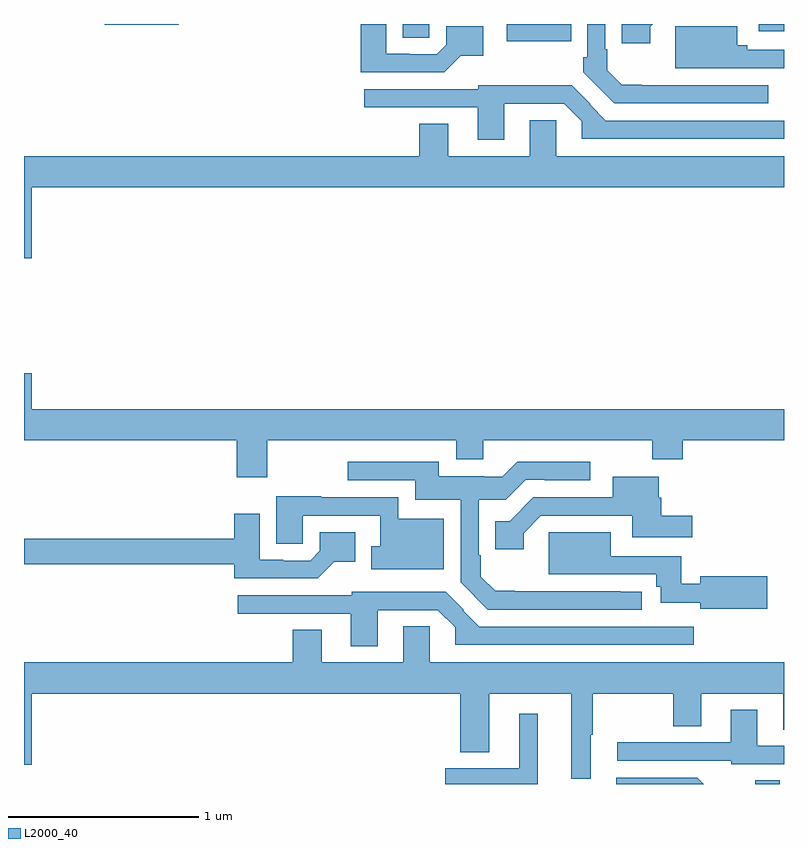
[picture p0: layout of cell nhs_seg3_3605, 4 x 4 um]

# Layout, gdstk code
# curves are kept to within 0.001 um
import gdstk
lib = gdstk.Library(unit=1e-6, precision=1e-09)
def R(c, l, rs):  # rectangles x0, y0, x1, y1
    for r in rs: c.add(gdstk.rectangle(r[:2], r[2:], *l))
def P(c, l, *ps):  # polygons
    for p in ps: c.add(gdstk.Polygon(p, *l))
L2000_40 = (2000, 40)

nhs_seg3_3605 = lib.new_cell('nhs_seg3_3605')
R(nhs_seg3_3605, L2000_40, [(300.848,740.4,300.978,740.42), (299.541,744.308,299.879,744.4), (298.994,744.328,299.133,744.4), (300.866,744.362,301,744.4), (297.426,744.395,297.814,744.4)])
P(nhs_seg3_3605, L2000_40, [(300.295,744.385),(300.31,744.4),(300.145,744.4),(300.145,744.3),(300.295,744.3)],
  [(299.298,744.233),(299.416,744.233),(299.416,744.388),(299.223,744.388),(299.223,744.291),(299.172,744.24),(299.03,744.24),(299.03,744.243),(298.906,744.243),(298.906,744.4),(298.772,744.4),(298.772,744.147),(299.212,744.147)],
  [(300.916,744.078),(300.25,744.078),(300.25,744.081),(300.146,744.081),(300.07,744.156),(300.07,744.268),(300.06,744.268),(300.06,744.4),(299.964,744.4),(299.964,744.226),(299.944,744.226),(299.944,744.145),(300.107,743.982),(300.916,743.982)],
  [(300.707,744.168),(301,744.168),(301,744.264),(300.807,744.264),(300.807,744.289),(300.754,744.289),(300.754,744.388),(300.428,744.388),(300.428,744.167),(300.707,744.167)],
  [(299.527,743.979),(299.844,743.979),(299.935,743.889),(299.935,743.796),(301,743.796),(301,743.892),(300.063,743.892),(299.978,743.977),(299.981,743.98),(299.883,744.078),(299.391,744.078),(299.391,744.057),(298.791,744.057),(298.791,743.961),(299.387,743.961),(299.387,743.79),(299.527,743.79)],
  [(297.04,743.54),(301,743.54),(301,743.704),(299.802,743.704),(299.802,743.894),(299.663,743.894),(299.663,743.704),(299.233,743.704),(299.233,743.876),(299.081,743.876),(299.081,743.704),(297,743.704),(297,743.166),(297.04,743.166)],
  [(298.281,742.208),(299.276,742.208),(299.276,742.109),(299.416,742.109),(299.416,742.208),(300.307,742.208),(300.307,742.109),(300.467,742.109),(300.467,742.208),(301,742.208),(301,742.372),(297.04,742.372),(297.04,742.561),(297,742.561),(297,742.208),(298.121,742.208),(298.121,742.014),(298.281,742.014)],
  [(300.25,741.413),(299.584,741.414),(299.584,741.417),(299.48,741.417),(299.404,741.492),(299.404,741.604),(299.394,741.604),(299.394,741.897),(299.535,741.897),(299.64,742.002),(299.74,742.002),(299.74,741.999),(299.98,741.999),(299.98,742.096),(299.596,742.096),(299.517,742.017),(299.423,742.017),(299.423,742.021),(299.182,742.021),(299.182,742.095),(298.704,742.095),(298.704,741.999),(299.06,741.999),(299.06,741.896),(299.298,741.896),(299.298,741.461),(299.441,741.318),(300.25,741.318)],
  [(299.629,741.721),(299.721,741.813),(300.2,741.813),(300.2,741.698),(300.517,741.698),(300.517,741.812),(300.353,741.812),(300.353,741.906),(300.34,741.906),(300.34,742.018),(300.098,742.018),(300.098,741.909),(299.681,741.909),(299.556,741.784),(299.479,741.784),(299.479,741.636),(299.629,741.636)],
  [(299.209,741.796),(298.971,741.796),(298.971,741.909),(298.564,741.909),(298.564,741.914),(298.328,741.914),(298.328,741.664),(298.467,741.664),(298.467,741.813),(298.874,741.813),(298.874,741.652),(298.828,741.652),(298.828,741.53),(299.209,741.53)],
  [(298.632,741.569),(298.743,741.569),(298.743,741.724),(298.557,741.724),(298.557,741.627),(298.506,741.576),(298.364,741.576),(298.364,741.579),(298.24,741.579),(298.24,741.823),(298.106,741.823),(298.106,741.692),(297,741.692),(297,741.556),(298.106,741.556),(298.106,741.483),(298.546,741.483)],
  [(300.913,741.494),(300.56,741.494),(300.56,741.453),(300.46,741.453),(300.46,741.6),(300.088,741.6),(300.088,741.724),(299.762,741.724),(299.762,741.503),(299.984,741.503),(299.984,741.504),(300.327,741.504),(300.327,741.438),(300.35,741.438),(300.35,741.354),(300.56,741.354),(300.56,741.323),(300.913,741.323)],
  [(298.861,741.315),(299.178,741.315),(299.269,741.225),(299.269,741.132),(300.526,741.132),(300.526,741.228),(299.397,741.228),(299.312,741.313),(299.315,741.316),(299.22,741.411),(298.725,741.411),(298.725,741.393),(298.125,741.393),(298.125,741.297),(298.721,741.297),(298.721,741.126),(298.861,741.126)],
  [(299.983,740.66),(299.993,740.66),(299.993,740.876),(300.418,740.876),(300.418,740.704),(300.565,740.704),(300.565,740.876),(300.995,740.876),(300.995,740.686),(301,740.686),(301,741.04),(299.136,741.04),(299.136,741.23),(298.997,741.23),(298.997,741.04),(298.567,741.04),(298.567,741.212),(298.415,741.212),(298.415,741.04),(297,741.04),(297,740.502),(297.04,740.502),(297.04,740.876),(299.297,740.876),(299.297,740.567),(299.449,740.567),(299.449,740.876),(299.879,740.876),(299.879,740.427),(299.983,740.427)],
  [(301,740.601),(300.859,740.601),(300.859,740.791),(300.719,740.791),(300.719,740.619),(300.123,740.619),(300.123,740.523),(300.723,740.523),(300.723,740.505),(301,740.505)],
  [(299.704,740.77),(299.606,740.77),(299.606,740.482),(299.216,740.482),(299.216,740.4),(299.704,740.4)],
  [(300.544,740.433),(300.116,740.433),(300.116,740.4),(300.577,740.4)])

lib.write_gds('nhs_seg3_3605.gds')
